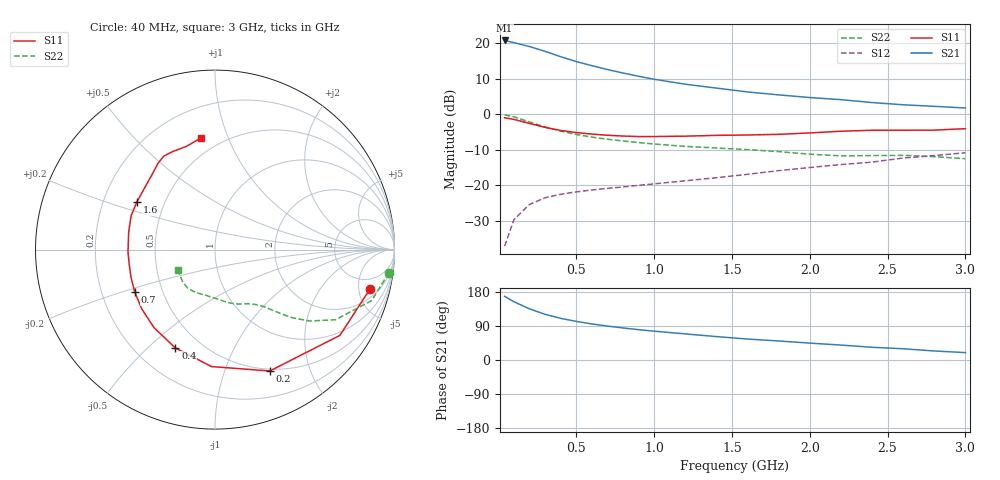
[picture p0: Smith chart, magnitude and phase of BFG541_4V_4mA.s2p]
! Filename:  BFG541A.S2P  Version:  3.0
! Philips part #: BFG541  Date: Feb 1992
! Bias condition: Vce=4V, Ic=4mA
#  MHz  S  MA  R  50
! Freq  S11  S21  S12  S22  !GUM [dB]
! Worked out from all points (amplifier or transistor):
!   21 points, 40 MHz to 3 GHz, reference 50 ohm
!   highest |S21| = 20.7 dB at 40 MHz (marker M1)
!   |S21| within 3 dB of that: start of sweep to 295.9 MHz
!   unconditionally stable (mu >= 1): 1.037 GHz to end of sweep
!   at 300 MHz: K = 0.36, MSG = 20.6 dB, |S12| = -23.5 dB
!   at 1 GHz: K = 0.98, MSG = 14.7 dB, |S12| = -19.6 dB
!   at 3 GHz: K = 1.08, MAG = 4.5 dB, |S12| = -10.8 dB
!   S11 on the Smith chart (normalised r, x): 40 MHz: 3.07, -6.56; 200 MHz: 0.48, -1.44; 400 MHz: 0.36, -0.61; 700 MHz: 0.35, -0.22; 1.6 GHz: 0.35, +0.25; 3 GHz: 0.39, +0.80
40  0.891 -14.3  10.85 168.0  0.014 81.7  0.977 -7.6
100  0.844 -34.5  10.11 153.7  0.033 70.1  0.918 -18.0
200  0.742 -65.7  8.907 135.0  0.054 57.6  0.777 -30.2
300  0.652 -91.7  7.631 120.5  0.067 50.2  0.661 -37.0
400  0.591 -111.9  6.419 109.9  0.075 46.4  0.578 -41.2
500  0.552 -128.0  5.492 101.9  0.081 45.0  0.519 -43.9
600  0.525 -141.0  4.8 95.2  0.086 44.9  0.476 -45.9
700  0.506 -152.0  4.237 89.6  0.091 45.4  0.445 -47.7
800  0.493 -161.6  3.786 84.6  0.095 46.2  0.42 -49.3
900  0.485 -170.2  3.411 80.1  0.1 47.6  0.399 -51.2
1000  0.485 -178.3  3.094 76.1  0.105 48.9  0.381 -53.4
1200  0.491 168.3  2.637 68.9  0.116 51.6  0.353 -58.6
1400  0.504 157.9  2.325 61.8  0.128 53.6  0.335 -65.0
1600  0.51 148.5  2.053 55.3  0.143 56.6  0.318 -71.4
1800  0.521 139.0  1.866 50.2  0.161 56.9  0.298 -78.3
2000  0.545 130.2  1.713 44.6  0.178 58.0  0.274 -88.0
2200  0.576 123.5  1.6 39.4  0.196 57.8  0.26 -101.0
2400  0.594 118.6  1.456 33.6  0.212 58.6  0.262 -114.2
2600  0.595 113.1  1.356 29.7  0.242 56.8  0.264 -125.1
2800  0.597 105.4  1.289 23.8  0.262 53.9  0.253 -135.7
3000  0.626 97.3  1.22 19.5  0.287 53.2  0.237 -151.2
